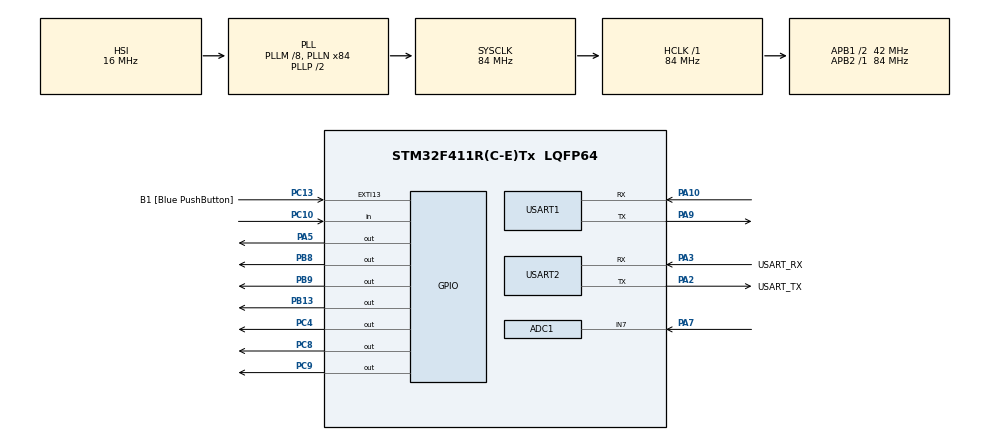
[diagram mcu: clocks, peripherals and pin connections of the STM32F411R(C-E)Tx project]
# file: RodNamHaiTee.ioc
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ADC1.Channel-0\#ChannelRegularConversion=ADC_CHANNEL_7
ADC1.NbrOfConversionFlag=1
ADC1.Rank-0\#ChannelRegularConversion=1
ADC1.SamplingTime-0\#ChannelRegularConversion=ADC_SAMPLETIME_3CYCLES
ADC1.master=1
Mcu.Family=STM32F4
Mcu.Name=STM32F411R(C-E)Tx
Mcu.Package=LQFP64
NVIC.PriorityGroup=NVIC_PRIORITYGROUP_4
NVIC.USART1_IRQn=true\:0\:0\:true\:false\:true\:true\:true
NVIC.USART2_IRQn=true\:0\:0\:false\:false\:true\:true\:true
PA10.Mode=Asynchronous
PA10.Signal=USART1_RX
PA13.GPIO_Label=TMS
PA13.Mode=Serial_Wire
PA13.Signal=SYS_JTMS-SWDIO
PA14.GPIO_Label=TCK
PA14.Mode=Serial_Wire
PA14.Signal=SYS_JTCK-SWCLK
PA2.GPIO_Label=USART_TX
PA2.Mode=Asynchronous
PA2.Signal=USART2_TX
PA3.GPIO_Label=USART_RX
PA3.Mode=Asynchronous
PA3.Signal=USART2_RX
PA5.Signal=GPIO_Output
PA7.Signal=ADCx_IN7
PA9.Mode=Asynchronous
PA9.Signal=USART1_TX
PB13.GPIO_PuPd=GPIO_PULLUP
PB13.Signal=GPIO_Output
PB3.GPIO_Label=SWO
PB3.Signal=SYS_JTDO-SWO
PB8.Signal=GPIO_Output
PB9.Signal=GPIO_Output
PC10.Signal=GPIO_Input
PC13-ANTI_TAMP.GPIO_Label=B1 [Blue PushButton]
PC13-ANTI_TAMP.GPIO_ModeDefaultEXTI=GPIO_MODE_IT_FALLING
PC13-ANTI_TAMP.Signal=GPXTI13
PC14-OSC32_IN.Mode=LSE-External-Oscillator
PC14-OSC32_IN.Signal=RCC_OSC32_IN
PC15-OSC32_OUT.Mode=LSE-External-Oscillator
PC15-OSC32_OUT.Signal=RCC_OSC32_OUT
PC4.Signal=GPIO_Output
PC8.Signal=GPIO_Output
PC9.Signal=GPIO_Output
PH0\ -\ OSC_IN.Mode=HSE-External-Oscillator
PH0\ -\ OSC_IN.Signal=RCC_OSC_IN
PH1\ -\ OSC_OUT.Mode=HSE-External-Oscillator
PH1\ -\ OSC_OUT.Signal=RCC_OSC_OUT
ProjectManager.HeapSize=0x200
ProjectManager.StackSize=0x400
ProjectManager.TargetToolchain=STM32CubeIDE
RCC.48MHZClocksFreq_Value=42000000
RCC.AHBFreq_Value=84000000
RCC.APB1CLKDivider=RCC_HCLK_DIV2
RCC.APB1Freq_Value=42000000
RCC.APB1TimFreq_Value=84000000
RCC.APB2Freq_Value=84000000
RCC.APB2TimFreq_Value=84000000
RCC.CortexFreq_Value=84000000
RCC.FLatency-AdvancedSettings=FLASH_LATENCY_2
RCC.HCLKFreq_Value=84000000
RCC.HSE_VALUE=8000000
RCC.HSI_VALUE=16000000
RCC.PLLM=8
RCC.PLLN=84
RCC.SYSCLKFreq_VALUE=84000000
RCC.SYSCLKSource=RCC_SYSCLKSOURCE_PLLCLK
RCC.VCOOutputFreq_Value=168000000
SH.ADCx_IN7.0=ADC1_IN7,IN7
USART1.VirtualMode=VM_ASYNC
USART2.VirtualMode=VM_ASYNC
board=NUCLEO-F411RE

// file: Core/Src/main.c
/* USER CODE BEGIN Header */
/**
  ******************************************************************************
  * @file           : main.c
  * @brief          : Main program body
  ******************************************************************************
  * @attention
  *
  * Copyright (c) 2022 STMicroelectronics.
  * All rights reserved.
  *
  * This software is licensed under terms that can be found in the LICENSE file
  * in the root directory of this software component.
  * If no LICENSE file comes with this software, it is provided AS-IS.
  *
  ******************************************************************************
  */
/* USER CODE END Header */
#include "main.h"

/* USER CODE BEGIN Includes */
//#include "ESP8266_HAL.h"
//#include "DHT.h"
//#include "MYDHT22.h"
#include <stdarg.h>
//#include <STM32byRogerLowPower.h>
//#include <RTClock.h>
//#include "DHT22.h"

/* USER CODE END Includes */

ADC_HandleTypeDef hadc1;

UART_HandleTypeDef huart1;
UART_HandleTypeDef huart2;

/* USER CODE BEGIN PV */
static const uint8_t i2c2add = 0x48 << 1; // Use 8-bit address
/* USER CODE END PV */

void SystemClock_Config(void);
static void MX_GPIO_Init(void);
static void MX_USART2_UART_Init(void);
static void MX_USART1_UART_Init(void);
static void MX_ADC1_Init(void);

/* USER CODE BEGIN 0 */
volatile uint8_t Rx_byte;
volatile uint8_t Rx_data[10240];
volatile uint8_t Rx_indx = 0;

volatile uint8_t Rx_byte2;
volatile uint8_t Rx_data2[10240];
volatile uint8_t Rx_indx2 = 0;

char uart_recv;
char str[10240];
char tmp[1000];
int counter = 0;
float parTemperature = 36;
float parSoilHumidity = 70;
int parHumidity = 50;
int parWater = 5;
int parDoEvery = 20;
int powerSaveMode = 1;
int tot_delay = 0;

void serialSend(char* str){
	HAL_UART_Transmit(&huart2, str, strlen(str), 10);
}
void MY_Delay(x){
	HAL_Delay(x);
	tot_delay+=x;
}
#define log(x)	serialSend(x)
#define HAL_Delay(x) MY_Delay(x)
void wifisend(char* str){
	HAL_UART_Transmit(&huart1, str, strlen(str), 10);
}

void HAL_UART_RxCpltCallback(UART_HandleTypeDef *huart){
	if (huart == &huart1) { // Current UART
		Rx_data[Rx_indx++] = Rx_byte;    // Add data to Rx_Buffer
		HAL_UART_Receive_IT(&huart1, &Rx_byte, 1);
	}
	if (huart == &huart2) { // Current UART
		Rx_data2[Rx_indx2++] = Rx_byte2;    // Add data to Rx_Buffer
		HAL_UART_Receive_IT(&huart2, &Rx_byte2, 1);
	}
}
void blink(int n){
	for(int i = 0;i<n;i++){
		HAL_Delay(150);
		HAL_GPIO_TogglePin(GPIOA, GPIO_PIN_5);
		HAL_Delay(150);
		HAL_GPIO_TogglePin(GPIOA, GPIO_PIN_5);
	}
}
void blinkLong(int n){
	for(int i = 0;i<n;i++){
		HAL_Delay(100);
		HAL_GPIO_TogglePin(GPIOA, GPIO_PIN_5);
		HAL_Delay(500);
		HAL_GPIO_TogglePin(GPIOA, GPIO_PIN_5);

	}
}

void sendCommand(char* id,float hum,int soil,float temp,float light,int relay){
	char command[128];
	sprintf(command,"sendData('%s %f %d %f %f %d')\r\n",id,hum,soil,temp,light,relay);
	log(command);
	wifisend(command);
}

int  readLineUart(char* buffer){
	for(int i = 0;i< Rx_indx;i++){
		buffer[i] = Rx_data[i];
	}
	int ret = Rx_indx;
	buffer[Rx_indx] = 0;
	Rx_indx = 0;
	return ret;
}

int  readLineUart2(char* buffer){
	for(int i = 0;i< Rx_indx2;i++){
		buffer[i] = Rx_data2[i];
	}
	int ret = Rx_indx2;
	buffer[Rx_indx2] = 0;
	Rx_indx2 = 0;
	return ret;
}

//char temp[1024];
//char humid[1024];
//char soil[1024];

char *deviceID = "Naotest8";

//DHT_DataTypedef DHT11_Data;
float Temperature, Humidity = 1.0;
uint16_t SoilHumidity = 0;
float light = 40.0;
int relayRunning = 0;
void powerOnSensor(){
	log("powerOnSensor\n");
	HAL_GPIO_WritePin(GPIOC, GPIO_PIN_9, 1); //On
	// delay 2 sec for DHT
	HAL_Delay(2000);
}
void powerOffSensor(){
	log("powerOffSensor\n");
	HAL_GPIO_WritePin(GPIOC, GPIO_PIN_9, 0); //On

}
void relayOn(){
	log("relayOn\n");
	HAL_GPIO_WritePin(GPIOB, GPIO_PIN_9, 1); //On
	relayRunning = 1;
}

void relayOff(){
	log("relayOff\n");
	HAL_GPIO_WritePin(GPIOB, GPIO_PIN_9, 0); //On
	relayRunning = 0;
}
void dumpData(char *buffer,int len){
	for(int i=0;i<len;i++){
		sprintf(tmp,"%02X ",buffer[i]);log(tmp);
	}
	log("\r\n");
}
int getWifiStatus(){
	char cmd[64];
	//wifisend("showConnectionStatus()\n");
	wifisend("print(connected)\n");
	HAL_Delay(200);
	int numread = readLineUart(str);
	sprintf(tmp,"getWifiStatus numread =   %d\r\n",numread);
	log(tmp);
	if(numread >0){
		char *ptr = strstr(str,"\n");
		if(ptr!=NULL){
			log(ptr);
			if(sscanf(ptr,"%s",cmd) == 1){
				//sprintf(tmp,"%d %d\r\n",numread,strlen(str));log(tmp);
				//sprintf(tmp,"[%s]",ptr);log(tmp);
				//dumpData(ptr,strlen(ptr));
				if(strcmp(cmd,"true")==0){
					log("connected\r\n");
					return 1;
				}
				else{
					log("disconnect\r\n");
					return 0;
				}
			}
		}
	}

}
int getDHT(int debug){
	if(debug == 2){
		powerOnSensor();
	}

	char tmp[64];
	wifisend("getDHT()\n");
	HAL_Delay(2000);
	int numread = readLineUart(str);
	//sprintf(tmplog,"numread=%d\r\n",numread);log(tmplog);
	if(numread >0){
		if(debug == 1){
			log(str);
		}
		char *ptr = strstr(str,"\n");
		if(ptr!=NULL){
			//log(ptr);
			if(sscanf(ptr,"%s %f %f",&tmp[0],&Temperature,&Humidity)==3){
				if(debug == 2){
					powerOffSensor();
				}

				return 1;
			}
		}
	}
	if(debug == 2){
		powerOffSensor();
	}
	return 0;
}

void getSoil(int debug){
	if(debug == 2){
		powerOnSensor();
	}
	HAL_ADC_Start(&hadc1);
	// Poll ADC1 Perihperal & TimeOut = 1mSec
	HAL_ADC_PollForConversion(&hadc1, 100);
	// Read The ADC Conversion Result & Map It To PWM DutyCycle
	SoilHumidity = HAL_ADC_GetValue(&hadc1);
	if(debug == 2){
		powerOffSensor();
	}
}

void upload(){
	sendCommand(deviceID, Humidity, SoilHumidity, Temperature, light, relayRunning);
	HAL_Delay(2000);
	int numread = readLineUart(str);
	log(str);
}

int shoudWater(float Humidity, int SoilHumidity, float Temperature){
//	temp //อุณหภูมิ
//	x //ค่าความชื้นในดิน
//	if (SoilHumidity <1400) SoilHumidity =1400;
//	if (SoilHumidity >3600) SoilHumidity =3600;
//	loadSetting();
	float moisture = (4500.0 - SoilHumidity)/4000.0*100.0; //ความชื้น
	if (moisture < parSoilHumidity ) {
		sprintf(tmp,"bec soil = %f < %f \r\n",moisture,parSoilHumidity );
		log(tmp);
		return 1;

	}
	else if(Temperature > parTemperature){
		sprintf(tmp,"bec temp = %f > %f \r\n",Temperature,parTemperature );
		log(tmp);
		return 1;
	}
	sprintf(tmp,"DONT bec soil = %f % [%d] temp = %f \r\n",moisture,SoilHumidity,Temperature );
	log(tmp);

//	if(rand()%5 == 0){
//		return 1;
//	}
	return 0;
}

void readSensor()
{
	blink(2);
	powerOnSensor();
	getDHT(0);
	getSoil(0);
	powerOffSensor();
}

void showESPOutput()
{
	int numread = readLineUart(str);
	if(numread>0){
		log(str);
	}
}
void getSetting()
{
	int numread = readLineUart(str);
	if(numread>0){
//		log(str);
		char *ptr = strstr(str,"\n");
//		float parTemperature = 36.0;
//		float parSoilHumidity = 70;
//		float parHumidity = 50;
//		float parWater = 5;
//		float parDoEvery = 20;
		for(int i = 0;i< strlen(ptr);i++){
			if(ptr[i] == '"'){
				ptr[i] = ' ';
			}
		}
		log(ptr);
//		if(sscanf(str,"%d %s",&tmp[0],&parTemperature,&parSoilHumidity,&parHumidity,&parWater,&parDoEvery) ==6){
//					log("good\r\n");
//				}
		int t;
		if(sscanf(ptr,"%s %d %f %f %d %d %d %d",&tmp[0],&t,&parTemperature,&parSoilHumidity,&parHumidity,&parWater,&parDoEvery,&powerSaveMode) ==7){
			log("good\r\n");
		}
		sprintf(tmp,"setting in STM32: %f %f %d %d %d %d\r\n",parTemperature,parSoilHumidity,parHumidity,parWater,parDoEvery,powerSaveMode);
		log(tmp);
	}
}
void loadSetting()
{
	wifisend("loadSetting()\n");
	HAL_Delay(1000);
//	showESPOutput();
	getSetting();

}

void processCommand()
{
	char cmd[1024];
	int numread = readLineUart2(cmd);
	if(numread>0){
		sprintf(tmp,"cmd=%s",cmd);log(tmp);
		if(strcmp(cmd,"water\n")==0){
			loadSetting();
			readSensor();
			relayOn();

			HAL_Delay(1000*parWater);
			relayOff();
			relayRunning = 2; 	// make it as manual watering
			upload();
			return;
		}
		if(strcmp(cmd,"upload\n")==0){
			readSensor();
			upload();
			return;
		}
		if(strcmp(cmd,"status\n")==0){
			readSensor();
			sprintf(tmp,"%s %f %d %f %f %d\r\n",deviceID, Humidity, SoilHumidity, Temperature, light, relayRunning);
			log(tmp);
			return;
		}
		if(strcmp(cmd,"wifi\n")==0){
			getWifiStatus();
			return;
		}
		if(strcmp(cmd,"ls\n")==0){
			loadSetting();
			return;
		}
		if(cmd[0] == '#'){
			wifisend(&cmd[1]);
			HAL_Delay(2000);
			showESPOutput();
			return;
		}
		sprintf(tmp,"Unknow command: %s",cmd);log(tmp);
		return;
	}
}

void waitingForESP()
{
	// delay 5 sec for ESP reboot
	HAL_Delay(5000);
	log("waitingForESP start\r\n");
	for(int i=0;i<600;i++){
		if(getWifiStatus()==1){
			log("ESP WIFI ready\r\n");
			break;
		}else{
			sprintf(tmp,"wait for ESP WIFI %d\r\n",i+1);log(tmp);
			HAL_Delay(1000);
			showESPOutput();
			processCommand();
		}
	}
	log("waitingForESP end\r\n");
}
//extern void delay(volatile uint32_t microseconds);
/* USER CODE END 0 */

int main(void)
{

  /* MCU Configuration--------------------------------------------------------*/

  /* Reset of all peripherals, Initializes the Flash interface and the Systick. */
  HAL_Init();

  /* Configure the system clock */
  SystemClock_Config();

  /* Initialize all configured peripherals */
  MX_GPIO_Init();
  MX_USART2_UART_Init();
  MX_USART1_UART_Init();
  MX_ADC1_Init();
  /* USER CODE BEGIN 2 */
//  HAL_ADCEx_Calibration_Start(&hadc1);
//  ESP_Init("muminoiais_5G", "99775533");
//  HAL_UART_Receive_IT(&huart1, &uart_recv, 1);
  HAL_UART_Receive_IT(&huart1, &Rx_byte, 1);
  HAL_UART_Receive_IT(&huart2, &Rx_byte2, 1);
  log("**-----------------------------------------------\r\n");
  char UART1_rxBuffer[100] = {'a'};

  /*constrain part */
  float tempConst = 30.0;
  float soilConst = 1000; // low = moist
  float  humidConst = 60;  // high = moist
  int count = 1;

  //waiting for ESP ready by checking wifistatus
  blink(10);
  waitingForESP();
  loadSetting();
  powerOnSensor();
  float checkDHT = 0;
  float checkSoil = 0;
  int valError = 0;

  for(int i = 0;i< 4;i++){
	getDHT(0);
	getSoil(0);
	checkSoil += SoilHumidity;
	checkDHT += Temperature;
//	blinkLong(2);
	sprintf(tmp,"%d %f\r\n",SoilHumidity, Temperature);
	log(tmp);
	if(SoilHumidity <1000 || SoilHumidity > 4200 || SoilHumidity == 0 || Temperature == 0.0){
		valError = 1;
		blinkLong(3);
	}

  }
  powerOffSensor();
  if(valError){
	  log("value error\r\n");
  }

  /* USER CODE END 2 */

  /* Infinite loop */
  while (1)
  {

    /* USER CODE BEGIN 3 */
	 tot_delay = 0;

	count++;
	/*---------------idiot wire soil data----------------------*/
//	getSoil(0);
//	sprintf(tmp,"count=%d %d\r\n",count,SoilHumidity);log(tmp);
	int val = (60*(parDoEvery))-(count % (60*parDoEvery))-30;
	if( val > 300){
		loadSetting();
		val = (60*(parDoEvery))-(count % (60*parDoEvery))-30;
		if(val > 300){
			val = 300;
		}
	}
	sprintf(tmp,"count=%d  val = %d \r\n",count,val);log(tmp);
//	loadSetting();
	if(count % (60*parDoEvery) == 0){
		loadSetting();
	//if(count % (10) == 0){
		blink(2);
		powerOnSensor();
		if(getDHT(0)){
			getSoil(0);
//			readSensor();
			sprintf(tmp,"%s %f %d %f %f %d\r\n",deviceID, Humidity, SoilHumidity, Temperature, light, relayRunning);
			//sprintf(tmp,"%s %.2f %.2f %.2f %.2f %d\r\n",deviceID, Humidity, SoilHumidity, Temperature, light, relayRunning);
			log(tmp);
			if(shoudWater(Humidity, SoilHumidity, Temperature)){
				relayOn();

				HAL_Delay(1000*parWater);
				relayOff();
				upload();
			}else{
				upload();
			}
		}
		powerOffSensor();
	}
//	int val = (60*(parDoEvery))-(count % (60*parDoEvery))-30;
//	sprintf(tmp,"val:  %d\r\n",val);
//	log(tmp);
	val = (60*(parDoEvery))-(count % (60*parDoEvery))-30;
	if(val >0 && powerSaveMode == 1){
		sprintf(tmp,"deepSleep(%d)\n",val);
		wifisend(tmp);
		log(tmp);
		blink(5);
		HAL_Delay(val*1000);
//		blinkLong(1);
		count += val;
	}
	else{
//		blink(1);
		sprintf(tmp,"tot_delay (%d)\n",1000-tot_delay);
		log(tmp);
		if(tot_delay<1000){
			HAL_Delay(1000-tot_delay);
		}

	}

	showESPOutput();
	processCommand();
  }
  /* USER CODE END 3 */
}

void SystemClock_Config(void)
{
  RCC_OscInitTypeDef RCC_OscInitStruct = {0};
  RCC_ClkInitTypeDef RCC_ClkInitStruct = {0};

  /** Configure the main internal regulator output voltage
  */
  __HAL_RCC_PWR_CLK_ENABLE();
  __HAL_PWR_VOLTAGESCALING_CONFIG(PWR_REGULATOR_VOLTAGE_SCALE1);
  /** Initializes the RCC Oscillators according to the specified parameters
  * in the RCC_OscInitTypeDef structure.
  */
  RCC_OscInitStruct.OscillatorType = RCC_OSCILLATORTYPE_HSI;
  RCC_OscInitStruct.HSIState = RCC_HSI_ON;
  RCC_OscInitStruct.HSICalibrationValue = RCC_HSICALIBRATION_DEFAULT;
  RCC_OscInitStruct.PLL.PLLState = RCC_PLL_ON;
  RCC_OscInitStruct.PLL.PLLSource = RCC_PLLSOURCE_HSI;
  RCC_OscInitStruct.PLL.PLLM = 8;
  RCC_OscInitStruct.PLL.PLLN = 84;
  RCC_OscInitStruct.PLL.PLLP = RCC_PLLP_DIV2;
  RCC_OscInitStruct.PLL.PLLQ = 4;
  if (HAL_RCC_OscConfig(&RCC_OscInitStruct) != HAL_OK)
  {
    Error_Handler();
  }
  /** Initializes the CPU, AHB and APB buses clocks
  */
  RCC_ClkInitStruct.ClockType = RCC_CLOCKTYPE_HCLK|RCC_CLOCKTYPE_SYSCLK
                              |RCC_CLOCKTYPE_PCLK1|RCC_CLOCKTYPE_PCLK2;
  RCC_ClkInitStruct.SYSCLKSource = RCC_SYSCLKSOURCE_PLLCLK;
  RCC_ClkInitStruct.AHBCLKDivider = RCC_SYSCLK_DIV1;
  RCC_ClkInitStruct.APB1CLKDivider = RCC_HCLK_DIV2;
  RCC_ClkInitStruct.APB2CLKDivider = RCC_HCLK_DIV1;

  if (HAL_RCC_ClockConfig(&RCC_ClkInitStruct, FLASH_LATENCY_2) != HAL_OK)
  {
    Error_Handler();
  }
}

static void MX_ADC1_Init(void)
{

  ADC_ChannelConfTypeDef sConfig = {0};

  /** Configure the global features of the ADC (Clock, Resolution, Data Alignment and number of conversion)
  */
  hadc1.Instance = ADC1;
  hadc1.Init.ClockPrescaler = ADC_CLOCK_SYNC_PCLK_DIV4;
  hadc1.Init.Resolution = ADC_RESOLUTION_12B;
  hadc1.Init.ScanConvMode = DISABLE;
  hadc1.Init.ContinuousConvMode = DISABLE;
  hadc1.Init.DiscontinuousConvMode = DISABLE;
  hadc1.Init.ExternalTrigConvEdge = ADC_EXTERNALTRIGCONVEDGE_NONE;
  hadc1.Init.ExternalTrigConv = ADC_SOFTWARE_START;
  hadc1.Init.DataAlign = ADC_DATAALIGN_RIGHT;
  hadc1.Init.NbrOfConversion = 1;
  hadc1.Init.DMAContinuousRequests = DISABLE;
  hadc1.Init.EOCSelection = ADC_EOC_SINGLE_CONV;
  if (HAL_ADC_Init(&hadc1) != HAL_OK)
  {
    Error_Handler();
  }
  /** Configure for the selected ADC regular channel its corresponding rank in the sequencer and its sample time.
  */
  sConfig.Channel = ADC_CHANNEL_7;
  sConfig.Rank = 1;
  sConfig.SamplingTime = ADC_SAMPLETIME_3CYCLES;
  if (HAL_ADC_ConfigChannel(&hadc1, &sConfig) != HAL_OK)
  {
    Error_Handler();
  }

}

static void MX_USART1_UART_Init(void)
{

  huart1.Instance = USART1;
  huart1.Init.BaudRate = 115200;
  huart1.Init.WordLength = UART_WORDLENGTH_8B;
  huart1.Init.StopBits = UART_STOPBITS_1;
  huart1.Init.Parity = UART_PARITY_NONE;
  huart1.Init.Mode = UART_MODE_TX_RX;
  huart1.Init.HwFlowCtl = UART_HWCONTROL_NONE;
  huart1.Init.OverSampling = UART_OVERSAMPLING_16;
  if (HAL_UART_Init(&huart1) != HAL_OK)
  {
    Error_Handler();
  }

}

static void MX_USART2_UART_Init(void)
{

  huart2.Instance = USART2;
  huart2.Init.BaudRate = 115200;
  huart2.Init.WordLength = UART_WORDLENGTH_8B;
  huart2.Init.StopBits = UART_STOPBITS_1;
  huart2.Init.Parity = UART_PARITY_NONE;
  huart2.Init.Mode = UART_MODE_TX_RX;
  huart2.Init.HwFlowCtl = UART_HWCONTROL_NONE;
  huart2.Init.OverSampling = UART_OVERSAMPLING_16;
  if (HAL_UART_Init(&huart2) != HAL_OK)
  {
    Error_Handler();
  }

}

static void MX_GPIO_Init(void)
{
  GPIO_InitTypeDef GPIO_InitStruct = {0};

  /* GPIO Ports Clock Enable */
  __HAL_RCC_GPIOC_CLK_ENABLE();
  __HAL_RCC_GPIOH_CLK_ENABLE();
  __HAL_RCC_GPIOA_CLK_ENABLE();
  __HAL_RCC_GPIOB_CLK_ENABLE();

  /*Configure GPIO pin Output Level */
  HAL_GPIO_WritePin(GPIOA, GPIO_PIN_5, GPIO_PIN_RESET);

  /*Configure GPIO pin Output Level */
  HAL_GPIO_WritePin(GPIOC, GPIO_PIN_4|GPIO_PIN_8|GPIO_PIN_9, GPIO_PIN_RESET);

  /*Configure GPIO pin Output Level */
  HAL_GPIO_WritePin(GPIOB, GPIO_PIN_13|GPIO_PIN_8|GPIO_PIN_9, GPIO_PIN_RESET);

  /*Configure GPIO pin : B1_Pin */
  GPIO_InitStruct.Pin = B1_Pin;
  GPIO_InitStruct.Mode = GPIO_MODE_IT_FALLING;
  GPIO_InitStruct.Pull = GPIO_NOPULL;
  HAL_GPIO_Init(B1_GPIO_Port, &GPIO_InitStruct);

  /*Configure GPIO pin : PA5 */
  GPIO_InitStruct.Pin = GPIO_PIN_5;
  GPIO_InitStruct.Mode = GPIO_MODE_OUTPUT_PP;
  GPIO_InitStruct.Pull = GPIO_NOPULL;
  GPIO_InitStruct.Speed = GPIO_SPEED_FREQ_LOW;
  HAL_GPIO_Init(GPIOA, &GPIO_InitStruct);

  /*Configure GPIO pins : PC4 PC8 PC9 */
  GPIO_InitStruct.Pin = GPIO_PIN_4|GPIO_PIN_8|GPIO_PIN_9;
  GPIO_InitStruct.Mode = GPIO_MODE_OUTPUT_PP;
  GPIO_InitStruct.Pull = GPIO_NOPULL;
  GPIO_InitStruct.Speed = GPIO_SPEED_FREQ_LOW;
  HAL_GPIO_Init(GPIOC, &GPIO_InitStruct);

  /*Configure GPIO pin : PB13 */
  GPIO_InitStruct.Pin = GPIO_PIN_13;
  GPIO_InitStruct.Mode = GPIO_MODE_OUTPUT_PP;
  GPIO_InitStruct.Pull = GPIO_PULLUP;
  GPIO_InitStruct.Speed = GPIO_SPEED_FREQ_LOW;
  HAL_GPIO_Init(GPIOB, &GPIO_InitStruct);

  /*Configure GPIO pin : PC10 */
  GPIO_InitStruct.Pin = GPIO_PIN_10;
  GPIO_InitStruct.Mode = GPIO_MODE_INPUT;
  GPIO_InitStruct.Pull = GPIO_NOPULL;
  HAL_GPIO_Init(GPIOC, &GPIO_InitStruct);

  /*Configure GPIO pins : PB8 PB9 */
  GPIO_InitStruct.Pin = GPIO_PIN_8|GPIO_PIN_9;
  GPIO_InitStruct.Mode = GPIO_MODE_OUTPUT_PP;
  GPIO_InitStruct.Pull = GPIO_NOPULL;
  GPIO_InitStruct.Speed = GPIO_SPEED_FREQ_LOW;
  HAL_GPIO_Init(GPIOB, &GPIO_InitStruct);

}

void Error_Handler(void)
{
  __disable_irq();
  while (1)
  {
  }
}
